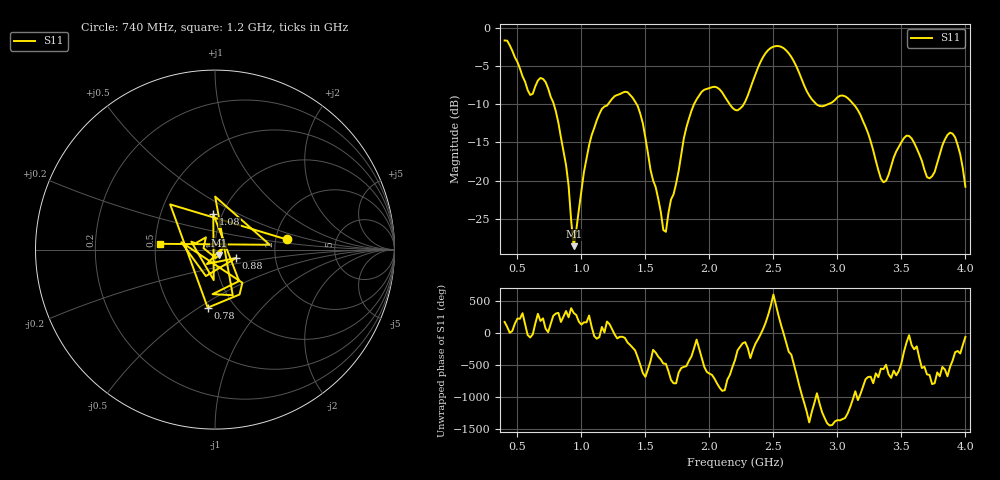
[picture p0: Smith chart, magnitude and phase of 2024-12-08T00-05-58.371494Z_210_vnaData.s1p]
!Created with skrf (http://scikit-rf.org).
# Hz S RI R 50.0
!freq ReS11 ImS11
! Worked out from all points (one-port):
!   181 points, 400 MHz to 4 GHz, reference 50 ohm
!   lowest |S11| = -28.6 dB at 940 MHz (marker M1), VSWR 1.08, Z = 52.2 - j3.08 ohm
!   |S11| at or under -10 dB: 784.6 MHz to 1.207 GHz (422.7 MHz wide, 42.4 % of centre); 1.432 GHz to 1.88 GHz (447.6 MHz wide, 27 % of centre); 3.126 GHz to end of sweep (the widest 3 of 5)
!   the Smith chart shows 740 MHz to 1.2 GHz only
!   S11 on the Smith chart (normalised r, x): 740 MHz: 2.30, +0.31; 780 MHz: 0.75, -0.54; 880 MHz: 1.26, -0.12; 1.08 GHz: 0.91, +0.37; 1.2 GHz: 0.53, +0.04
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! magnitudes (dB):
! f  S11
! 400 MHz  -1.6
! 600 MHz  -8.8
! 680 MHz  -6.5
! 740 MHz  -7.9
! 780 MHz  -9.7
! 860 MHz  -16.1
! 880 MHz  -18.0
! 940 MHz  -28.6
! 1.08 GHz  -14.0
! 1.2 GHz  -10.2
! 1.3 GHz  -8.7
! 1.46 GHz  -11.2
! 1.64 GHz  -26.5
! 1.66 GHz  -26.7
! 1.76 GHz  -18.7
! 1.82 GHz  -13.0
! 1.94 GHz  -8.3
! 2.06 GHz  -7.8
! 2.2 GHz  -10.7
! 2.46 GHz  -2.9
! 2.66 GHz  -4.4
! 2.84 GHz  -10.0
! 3.1 GHz  -9.5
! 3.36 GHz  -20.2
! 3.56 GHz  -14.1
! 3.72 GHz  -19.7
! 3.9 GHz  -13.8
! 4 GHz  -20.8
